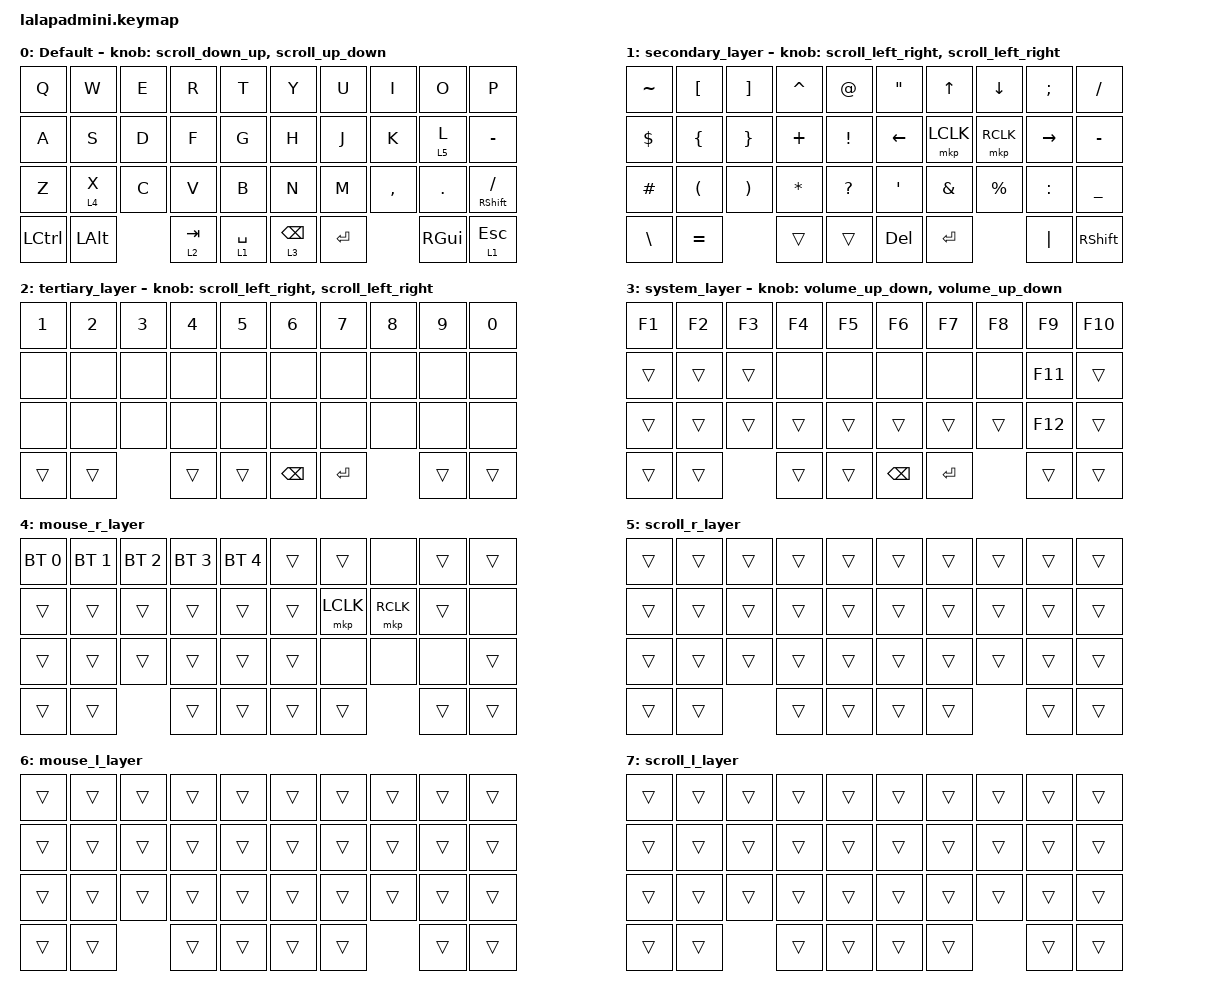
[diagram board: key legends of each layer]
#include <input/processors.dtsi>
#include <behaviors.dtsi>
#include <dt-bindings/zmk/bt.h>
#include <dt-bindings/zmk/keys.h>
#include <dt-bindings/zmk/pointing.h>

#define DEFAULT_LAYER   0
#define SECONDARY_LAYER 1
#define TERTIARY_LAYER  2
#define SYSTEM_LAYER    3
#define MOUSE_R_LAYER   4
#define SCROLL_R_LAYER  5
#define MOUSE_L_LAYER   6
#define SCROLL_L_LAYER  7

// Mouse Scroll Value

#define ZMK_POINTING_DEFAULT_SCRL_VAL 100

// cirque trackpad input&layer control

&glidepoint_listener_R {
    input-processors =
        <&zip_xy_transform (INPUT_TRANSFORM_XY_SWAP | INPUT_TRANSFORM_X_INVERT | INPUT_TRANSFORM_Y_INVERT)>,
        <&zip_xy_scaler 2 1>,
        <&zip_temp_layer MOUSE_R_LAYER 300>;

    lowspeedmode {
        layers = <SECONDARY_LAYER>;
        input-processors =
            <&zip_xy_transform (INPUT_TRANSFORM_XY_SWAP | INPUT_TRANSFORM_X_INVERT | INPUT_TRANSFORM_Y_INVERT)>,
            <&zip_xy_scaler 3 5>,
            <&zip_temp_layer MOUSE_R_LAYER 300>;
    };

    scroller {
        layers = <SCROLL_R_LAYER>;
        input-processors =
            <&zip_xy_to_scroll_mapper>,
            <&zip_scroll_transform (INPUT_TRANSFORM_XY_SWAP | INPUT_TRANSFORM_Y_INVERT)>,
            <&zip_scroll_scaler 1 32>;
    };
};

&glidepoint_listener_L {
    input-processors =
        <&zip_xy_transform (INPUT_TRANSFORM_XY_SWAP | INPUT_TRANSFORM_X_INVERT | INPUT_TRANSFORM_Y_INVERT)>,
        <&zip_xy_scaler 3 2>,
        <&zip_temp_layer MOUSE_L_LAYER 300>;

    lowspeedmode {
        layers = <TERTIARY_LAYER>;
        input-processors =
            <&zip_xy_transform (INPUT_TRANSFORM_XY_SWAP | INPUT_TRANSFORM_X_INVERT | INPUT_TRANSFORM_Y_INVERT)>,
            <&zip_xy_scaler 3 4>,
            <&zip_temp_layer MOUSE_L_LAYER 300>;
    };

    scroller {
        layers = <SCROLL_L_LAYER>;
        input-processors =
            <&zip_xy_to_scroll_mapper>,
            <&zip_scroll_transform (INPUT_TRANSFORM_XY_SWAP | INPUT_TRANSFORM_Y_INVERT)>,
            <&zip_scroll_scaler 1 32>;
    };
};

&mt { quick-tap-ms = <200>; };

&lt { quick-tap-ms = <200>; };

/ {
    behaviors {
        // Encoder to Mouse Scroll

        scroll_up_down: behavior_sensor_rotate_mouse_wheel_up_down {
            compatible = "zmk,behavior-sensor-rotate";
            #sensor-binding-cells = <0>;
            bindings = <&msc SCRL_UP>, <&msc SCRL_DOWN>;

            tap-ms = <20>;
        };

        scroll_down_up: behavior_sensor_rotate_mouse_wheel_down_up {
            compatible = "zmk,behavior-sensor-rotate";
            #sensor-binding-cells = <0>;
            bindings = <&msc SCRL_DOWN>, <&msc SCRL_UP>;

            tap-ms = <20>;
        };

        scroll_left_right: behavior_sensor_rotate_mouse_wheel_left_right {
            compatible = "zmk,behavior-sensor-rotate";
            #sensor-binding-cells = <0>;
            bindings = <&msc SCRL_LEFT>, <&msc SCRL_RIGHT>;

            tap-ms = <20>;
        };

        scroll_right_left: behavior_sensor_rotate_mouse_wheel_right_left {
            compatible = "zmk,behavior-sensor-rotate";
            #sensor-binding-cells = <0>;
            bindings = <&msc SCRL_RIGHT>, <&msc SCRL_LEFT>;

            tap-ms = <20>;
        };

        volume_up_down: behavior_sensor_rotate_volume_up_down {
            compatible = "zmk,behavior-sensor-rotate";
            #sensor-binding-cells = <0>;
            bindings = <&kp C_VOLUME_UP>, <&kp C_VOLUME_DOWN>;

            tap-ms = <20>;
        };

        mt2: mod_tap2 {
            compatible = "zmk,behavior-hold-tap";
            #binding-cells = <2>;
            flavor = "tap-preferred";
            tapping-term-ms = <200>;
            quick-tap-ms = <200>;
            require-prior-idle-ms = <125>;
            bindings = <&kp>, <&kp>;
        };

        tap_dance_layer_1and2: tap_dance_layer_1and2 {
            compatible = "zmk,behavior-tap-dance";
            label = "td_mo12";
            #binding-cells = <0>;
            bindings = <&mo 1>, <&mo 2>;
        };
    };

    combos { compatible = "zmk,combos"; };

    keymap {
        compatible = "zmk,keymap";

        DEFAULT_LAYER {
            display-name = "Default";
            sensor-bindings = <&scroll_down_up>, <&scroll_up_down>;

            bindings = <
&kp Q      &kp W         &kp E  &kp R      &kp T        &kp Y            &kp U      &kp I      &kp O          &kp P
&kp A      &kp S         &kp D  &kp F      &kp G        &kp H            &kp J      &kp K      &lt 5 L        &kp MINUS
&kp Z      &lt 4 X       &kp C  &kp V      &kp B        &kp N            &kp M      &kp COMMA  &kp PERIOD     &mt RSHIFT SLASH
&kp LCTRL  &kp LEFT_ALT         &lt 2 TAB  &lt 1 SPACE  &lt 3 BACKSPACE  &kp ENTER             &kp RIGHT_GUI  &lt 1 ESC
            >;
        };

        SECONDARY_LAYER {
            display-name = "secondary_layer";
            sensor-bindings = <&scroll_left_right>, <&scroll_left_right>;

            bindings = <
&kp TILDE      &kp LBKT              &kp RIGHT_BRACKET      &kp CARET  &kp AT        &kp DOUBLE_QUOTES  &kp UP_ARROW   &kp DOWN_ARROW  &kp SEMI         &kp SLASH
&kp DOLLAR     &kp LEFT_BRACE        &kp RIGHT_BRACE        &kp PLUS   &kp EXCL      &kp LEFT           &mkp LCLK      &mkp RCLK       &kp RIGHT_ARROW  &kp MINUS
&kp HASH       &kp LEFT_PARENTHESIS  &kp RIGHT_PARENTHESIS  &kp ASTRK  &kp QUESTION  &kp SINGLE_QUOTE   &kp AMPERSAND  &kp PERCENT     &kp COLON        &kp UNDERSCORE
&kp BACKSLASH  &kp EQUAL                                    &trans     &trans        &kp DELETE         &kp ENTER                      &kp PIPE         &kp RIGHT_SHIFT
            >;
        };

        TERTIARY_LAYER {
            display-name = "tertiary_layer";
            bindings = <
&kp NUMBER_1  &kp NUMBER_2  &kp NUMBER_3  &kp NUMBER_4  &kp NUMBER_5  &kp NUMBER_6   &kp NUMBER_7  &kp NUMBER_8  &kp NUMBER_9  &kp NUMBER_0
&none         &none         &none         &none         &none         &none          &none         &none         &none         &none
&none         &none         &none         &none         &none         &none          &none         &none         &none         &none
&trans        &trans                      &trans        &trans        &kp BACKSPACE  &kp ENTER                   &trans        &trans
            >;

            sensor-bindings = <&scroll_left_right>, <&scroll_left_right>;
        };

        SYSTEM_LAYER {
            display-name = "system_layer";
            sensor-bindings = <&volume_up_down>, <&volume_up_down>;

            bindings = <
&kp F1  &kp F2  &kp F3  &kp F4  &kp F5  &kp F6         &kp F7     &kp F8  &kp F9   &kp F10
&trans  &trans  &trans  &none   &none   &none          &none      &none   &kp F11  &trans
&trans  &trans  &trans  &trans  &trans  &trans         &trans     &trans  &kp F12  &trans
&trans  &trans          &trans  &trans  &kp BACKSPACE  &kp ENTER          &trans   &trans
            >;
        };

        MOUSE_R_LAYER {
            display-name = "mouse_r_layer";
            bindings = <
&bt BT_SEL 0  &bt BT_SEL 1  &bt BT_SEL 2  &bt BT_SEL 3  &bt BT_SEL 4  &trans  &trans     &none      &trans  &trans
&trans        &trans        &trans        &trans        &trans        &trans  &mkp LCLK  &mkp RCLK  &trans  &none
&trans        &trans        &trans        &trans        &trans        &trans  &none      &none      &none   &trans
&trans        &trans                      &trans        &trans        &trans  &trans                &trans  &trans
            >;
        };

        SCROLL_R_LAYER {
            display-name = "scroll_r_layer";
            bindings = <
&trans  &trans  &trans  &trans  &trans  &trans  &trans  &trans  &trans  &trans
&trans  &trans  &trans  &trans  &trans  &trans  &trans  &trans  &trans  &trans
&trans  &trans  &trans  &trans  &trans  &trans  &trans  &trans  &trans  &trans
&trans  &trans          &trans  &trans  &trans  &trans          &trans  &trans
            >;
        };

        MOUSE_L_LAYER {
            display-name = "mouse_l_layer";
            bindings = <
&trans  &trans  &trans  &trans  &trans  &trans  &trans  &trans  &trans  &trans
&trans  &trans  &trans  &trans  &trans  &trans  &trans  &trans  &trans  &trans
&trans  &trans  &trans  &trans  &trans  &trans  &trans  &trans  &trans  &trans
&trans  &trans          &trans  &trans  &trans  &trans          &trans  &trans
            >;
        };

        SCROLL_L_LAYER {
            display-name = "scroll_l_layer";
            bindings = <
&trans  &trans  &trans  &trans  &trans  &trans  &trans  &trans  &trans  &trans
&trans  &trans  &trans  &trans  &trans  &trans  &trans  &trans  &trans  &trans
&trans  &trans  &trans  &trans  &trans  &trans  &trans  &trans  &trans  &trans
&trans  &trans          &trans  &trans  &trans  &trans          &trans  &trans
            >;
        };
    };

    conditional_layers {
        compatible = "zmk,conditional-layers";

        System_layer {
            if-layers = <1 2>;
            then-layer = <3>;
        };
    };
};
